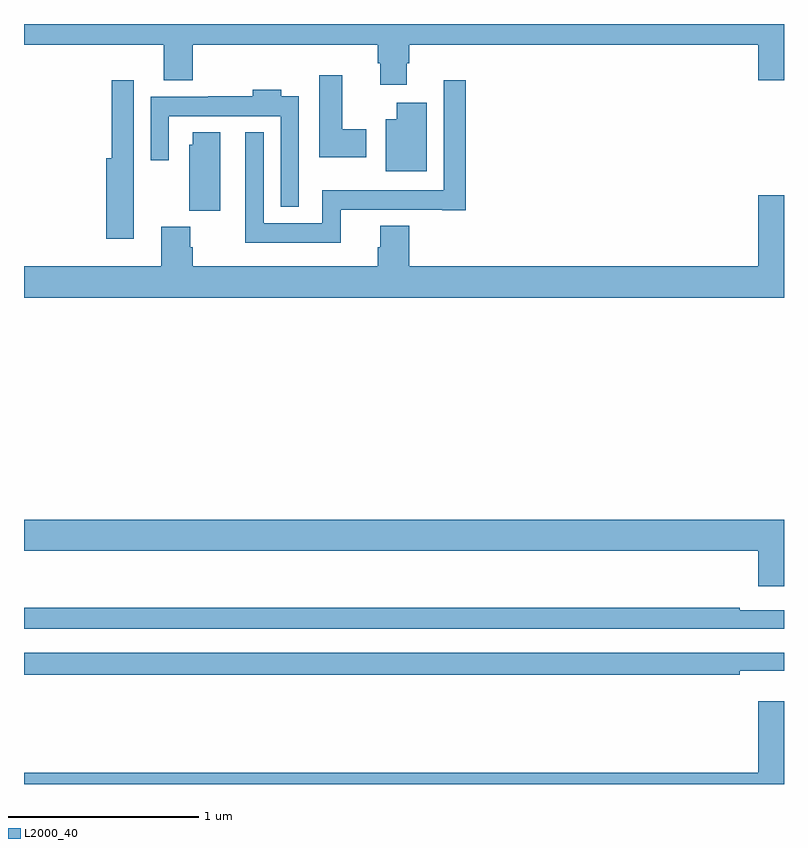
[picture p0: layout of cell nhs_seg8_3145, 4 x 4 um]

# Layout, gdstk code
import gdstk
lib = gdstk.Library(unit=1e-6, precision=1e-09)
def P(c, l, *ps):  # polygons
    for p in ps: c.add(gdstk.Polygon(p, *l))
L2000_40 = (2000, 40)

nhs_seg8_3145 = lib.new_cell('nhs_seg8_3145')
P(nhs_seg8_3145, L2000_40, [(307.015,1157.694),(307.028,1157.694),(307.028,1157.792),(308.864,1157.792),(308.864,1157.604),(309,1157.604),(309,1157.9),(305,1157.9),(305,1157.792),(305.735,1157.792),(305.735,1157.603),(305.888,1157.603),(305.888,1157.792),(306.863,1157.792),(306.863,1157.694),(306.875,1157.694),(306.875,1157.58),(307.015,1157.58)],
  [(306.802,1157.346),(306.676,1157.346),(306.676,1157.629),(306.554,1157.629),(306.554,1157.198),(306.802,1157.198)],
  [(305.578,1157.09),(305.577,1157.09),(305.577,1157.605),(305.461,1157.605),(305.461,1157.194),(305.432,1157.194),(305.432,1156.77),(305.578,1156.77)],
  [(306.668,1156.922),(307.202,1156.922),(307.202,1156.92),(307.325,1156.92),(307.325,1157.605),(307.209,1157.605),(307.209,1157.026),(306.57,1157.026),(306.57,1156.852),(306.261,1156.852),(306.261,1157.329),(306.164,1157.329),(306.164,1156.748),(306.668,1156.748)],
  [(306.447,1157.521),(306.355,1157.521),(306.355,1157.554),(306.203,1157.554),(306.203,1157.521),(305.971,1157.521),(305.971,1157.518),(305.667,1157.518),(305.667,1157.184),(305.763,1157.184),(305.763,1157.414),(306.351,1157.414),(306.351,1156.937),(306.447,1156.937)],
  [(307.12,1157.485),(306.962,1157.485),(306.962,1157.398),(306.905,1157.398),(306.905,1157.126),(307.12,1157.126)],
  [(306.034,1157.329),(305.888,1157.329),(305.888,1157.265),(305.87,1157.265),(305.87,1156.918),(306.034,1156.918)],
  [(309,1156.999),(308.864,1156.999),(308.864,1156.624),(307.028,1156.624),(307.028,1156.837),(306.875,1156.837),(306.875,1156.725),(306.863,1156.725),(306.863,1156.624),(305.888,1156.624),(305.888,1156.724),(305.875,1156.724),(305.875,1156.833),(305.723,1156.833),(305.723,1156.624),(305,1156.624),(305,1156.46),(309,1156.46)],
  [(309,1155.292),(305,1155.292),(305,1155.128),(308.864,1155.128),(308.864,1154.94),(309,1154.94)],
  [(309,1154.814),(308.768,1154.814),(308.768,1154.827),(305,1154.827),(305,1154.718),(309,1154.718)],
  [(308.768,1154.495),(309,1154.495),(309,1154.592),(305,1154.592),(305,1154.476),(308.768,1154.476)],
  [(309,1154.335),(308.864,1154.335),(308.864,1153.96),(305,1153.96),(305,1153.9),(309,1153.9)])

lib.write_gds('nhs_seg8_3145.gds')
